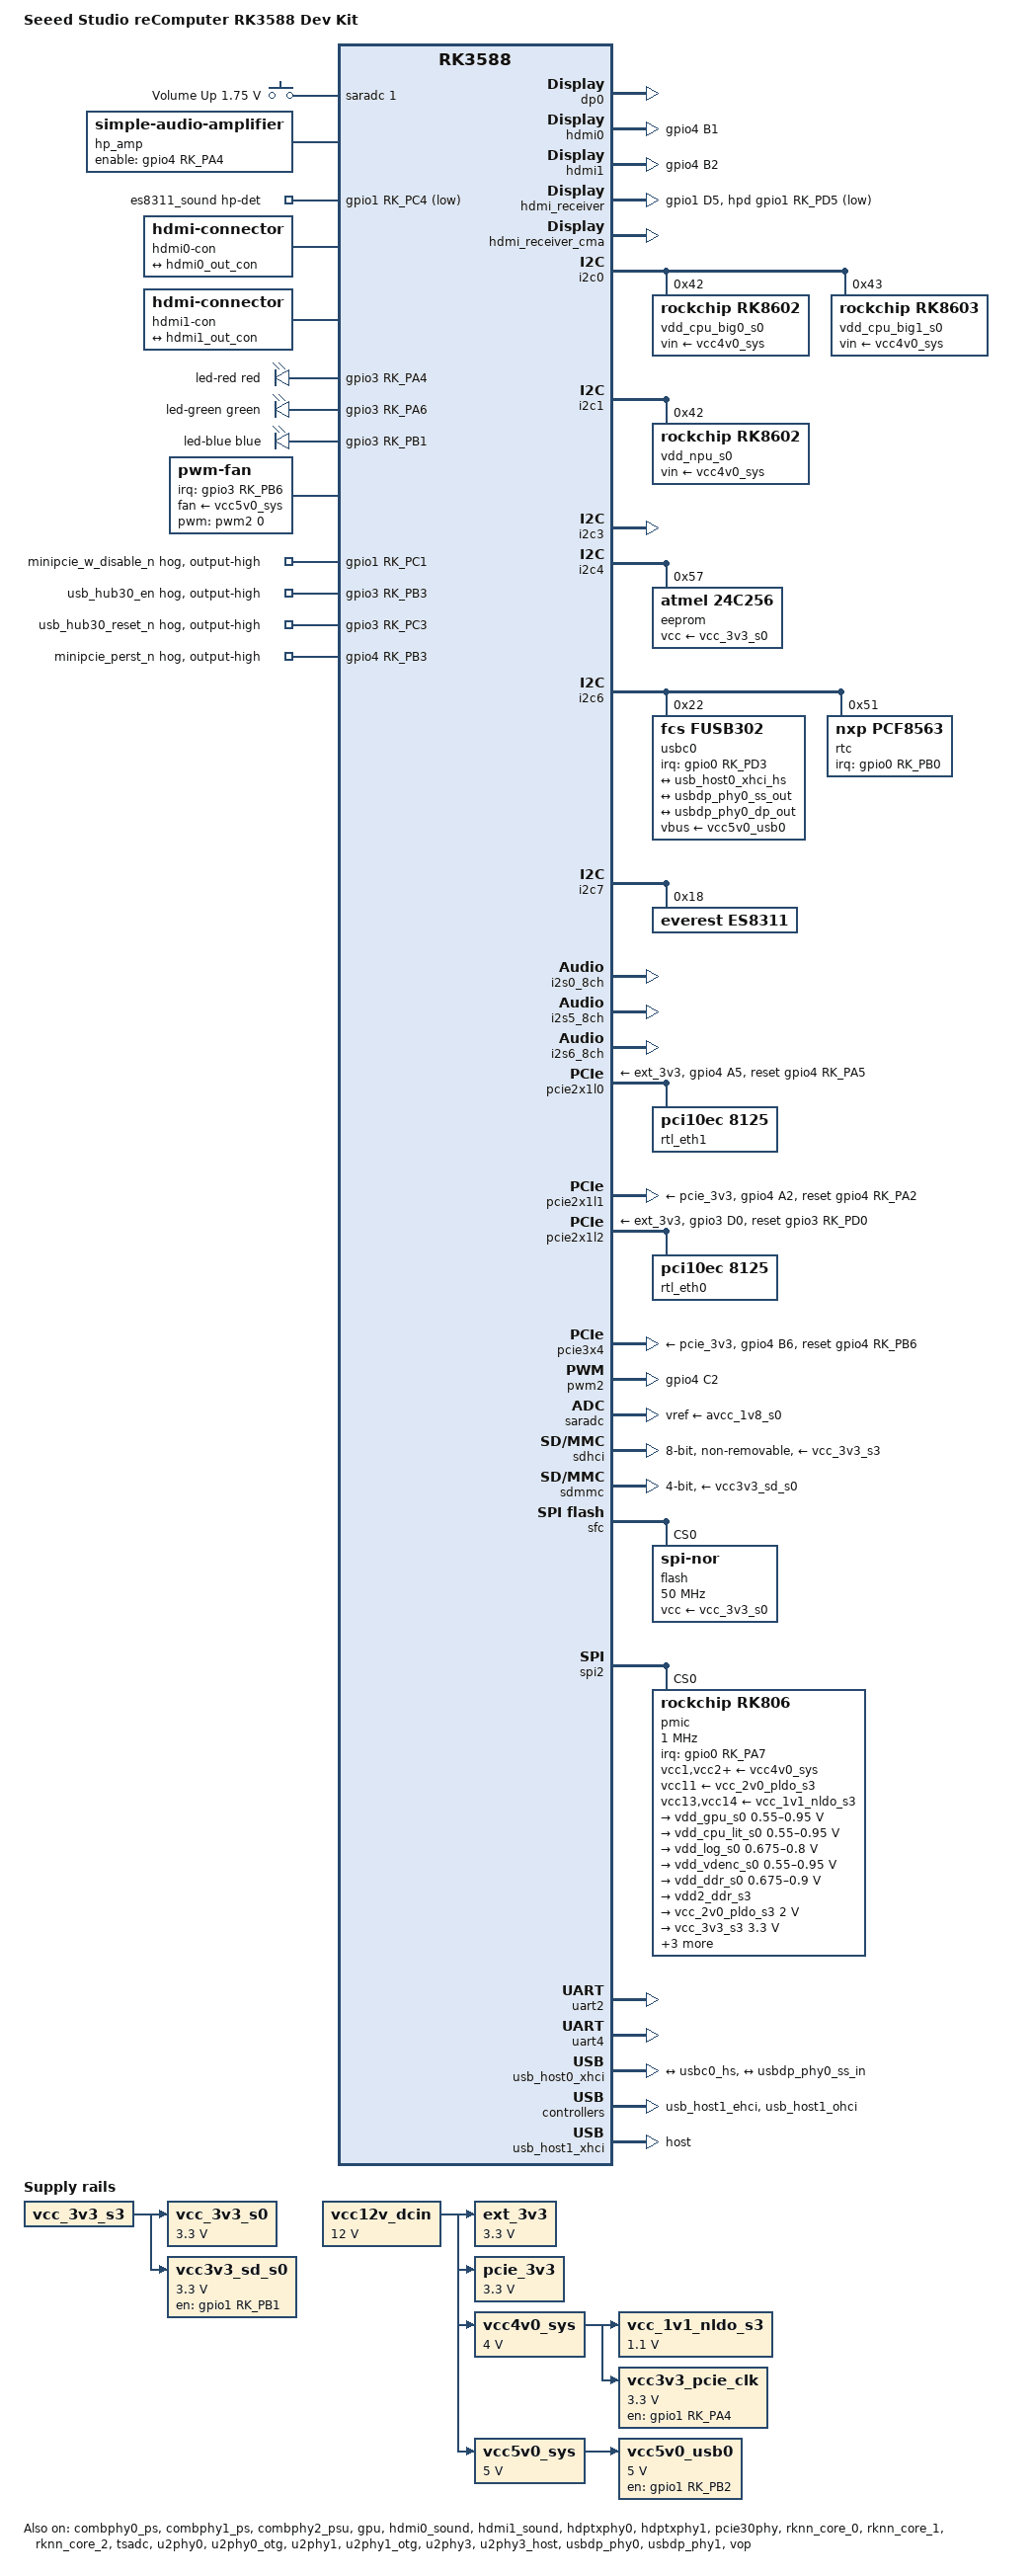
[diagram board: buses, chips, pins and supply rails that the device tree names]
// SPDX-License-Identifier: (GPL-2.0+ OR MIT)
/*
 * Copyright (c) 2026 Ricardo Pardini <ricardo@pardini.net>
 */

/dts-v1/;

#include <dt-bindings/gpio/gpio.h>
#include <dt-bindings/input/input.h>
#include <dt-bindings/leds/common.h>
#include <dt-bindings/pinctrl/rockchip.h>
#include <dt-bindings/soc/rockchip,vop2.h>
#include <dt-bindings/usb/pd.h>
#include "rk3588.dtsi"

/ {
	model = "Seeed Studio reComputer RK3588 Dev Kit";
	compatible = "seeed,recomputer-rk3588-devkit", "rockchip,rk3588";

	adc-keys {
		compatible = "adc-keys";
		io-channels = <&saradc 1>;
		io-channel-names = "buttons";
		keyup-threshold-microvolt = <1800000>;
		poll-interval = <100>;

		button-vol-up {
			label = "Volume Up";
			linux,code = <KEY_VOLUMEUP>;
			press-threshold-microvolt = <1750000>;
		};
	};

	aliases {
		ethernet0 = &rtl_eth0;
		ethernet1 = &rtl_eth1;
		mmc0 = &sdhci;
		mmc1 = &sdmmc;
	};

	/* Switch between the ES8311 differential output and the jack. */
	hp_amp: audio-amplifier {
		compatible = "simple-audio-amplifier";
		enable-gpios = <&gpio4 RK_PA4 GPIO_ACTIVE_HIGH>;
		pinctrl-names = "default";
		pinctrl-0 = <&hp_con>;
		sound-name-prefix = "Headphone Amp";
	};

	chosen {
		stdout-path = "serial2:1500000n8";
	};

	es8311_sound: es8311-sound {
		compatible = "simple-audio-card";
		pinctrl-names = "default";
		pinctrl-0 = <&hp_det>;
		simple-audio-card,name = "reComputer ES8311";
		simple-audio-card,format = "i2s";
		simple-audio-card,mclk-fs = <256>;
		simple-audio-card,aux-devs = <&hp_amp>;
		simple-audio-card,hp-det-gpios = <&gpio1 RK_PC4 GPIO_ACTIVE_LOW>;
		simple-audio-card,widgets = "Headphone", "Headphones",
					    "Microphone", "Headset Mic";
		simple-audio-card,routing = "Headphones", "Headphone Amp OUTL",
					    "Headphones", "Headphone Amp OUTR",
					    "Headphone Amp INL", "OUT",
					    "Headphone Amp INR", "OUT",
					    "MIC1", "Headset Mic";

		simple-audio-card,cpu {
			sound-dai = <&i2s0_8ch>;
		};

		simple-audio-card,codec {
			sound-dai = <&es8311>;
			system-clock-frequency = <12288000>;
		};
	};

	hdmi0-con {
		compatible = "hdmi-connector";
		type = "a";

		port {
			hdmi0_con_in: endpoint {
				remote-endpoint = <&hdmi0_out_con>;
			};
		};
	};

	hdmi1-con {
		compatible = "hdmi-connector";
		type = "a";

		port {
			hdmi1_con_in: endpoint {
				remote-endpoint = <&hdmi1_out_con>;
			};
		};
	};

	/*
	 * LED1 is a common-anode RGB LED tied to the ext_3v3 rail; each colour
	 * is switched by an NMOS driven from the SoC.
	 */
	leds {
		compatible = "gpio-leds";
		pinctrl-names = "default";
		pinctrl-0 = <&user_led_r>, <&user_led_g>, <&user_led_b>;

		led-red {
			color = <LED_COLOR_ID_RED>;
			function = LED_FUNCTION_INDICATOR;
			gpios = <&gpio3 RK_PA4 GPIO_ACTIVE_HIGH>;
		};

		led-green {
			color = <LED_COLOR_ID_GREEN>;
			function = LED_FUNCTION_INDICATOR;
			gpios = <&gpio3 RK_PA6 GPIO_ACTIVE_HIGH>;
		};

		led-blue {
			color = <LED_COLOR_ID_BLUE>;
			function = LED_FUNCTION_HEARTBEAT;
			gpios = <&gpio3 RK_PB1 GPIO_ACTIVE_HIGH>;
			linux,default-trigger = "heartbeat";
		};
	};

	fan: pwm-fan {
		compatible = "pwm-fan";
		/*
		 * The fan idles at its ~1000 rpm floor and only ramps once
		 * the package gets warm; the levels above the first roughly
		 * track the measured rpm curve, so the steps are even.
		 */
		cooling-levels = <25 35 55 80 115 165 255>;
		/* Sustains down to 8%, but needs 10% to break away. */
		fan-stop-to-start-percent = <15>;
		fan-supply = <&vcc5v0_sys>;
		interrupt-parent = <&gpio3>;
		interrupts = <RK_PB6 IRQ_TYPE_EDGE_RISING>;
		pinctrl-names = "default";
		pinctrl-0 = <&fan_tach>;
		pulses-per-revolution = <2>;
		pwms = <&pwm2 0 50000 0>;
		#cooling-cells = <2>;
	};

	/*
	 * Always-on discrete 12 V to 3.3 V regulator; supplies the Ethernet
	 * controllers, the USB 3.x hub, the user LED and the expansion
	 * connectors.
	 */
	ext_3v3: regulator-ext-3v3 {
		compatible = "regulator-fixed";
		regulator-always-on;
		regulator-boot-on;
		regulator-min-microvolt = <3300000>;
		regulator-max-microvolt = <3300000>;
		regulator-name = "ext_3v3";
		vin-supply = <&vcc12v_dcin>;
	};

	/* Always-on discrete 12 V to 3.3 V regulator for the two M.2 slots. */
	pcie_3v3: regulator-pcie-3v3 {
		compatible = "regulator-fixed";
		regulator-always-on;
		regulator-boot-on;
		regulator-min-microvolt = <3300000>;
		regulator-max-microvolt = <3300000>;
		regulator-name = "pcie_3v3";
		vin-supply = <&vcc12v_dcin>;
	};

	vcc_1v1_nldo_s3: regulator-vcc-1v1-nldo-s3 {
		compatible = "regulator-fixed";
		regulator-always-on;
		regulator-boot-on;
		regulator-min-microvolt = <1100000>;
		regulator-max-microvolt = <1100000>;
		regulator-name = "vcc_1v1_nldo_s3";
		vin-supply = <&vcc4v0_sys>;
	};

	/* Load switch off vcc_3v3_s3; supplies the eMMC, the SPI NOR and PMUIO2. */
	vcc_3v3_s0: regulator-vcc-3v3-s0 {
		compatible = "regulator-fixed";
		regulator-always-on;
		regulator-boot-on;
		regulator-min-microvolt = <3300000>;
		regulator-max-microvolt = <3300000>;
		regulator-name = "vcc_3v3_s0";
		vin-supply = <&vcc_3v3_s3>;
	};

	vcc12v_dcin: regulator-vcc12v-dcin {
		compatible = "regulator-fixed";
		regulator-always-on;
		regulator-boot-on;
		regulator-min-microvolt = <12000000>;
		regulator-max-microvolt = <12000000>;
		regulator-name = "vcc12v_dcin";
	};

	/*
	 * Supplies the PI6C557-05B buffer that fans the PCIe 3.0 reference
	 * clock out to the x4 M.2 slot. It has no consumer of its own, so
	 * keep it on.
	 */
	vcc3v3_pcie_clk: regulator-vcc3v3-pcie-clk {
		compatible = "regulator-fixed";
		enable-active-high;
		gpio = <&gpio1 RK_PA4 GPIO_ACTIVE_HIGH>;
		pinctrl-names = "default";
		pinctrl-0 = <&pcie30_clk_en>;
		regulator-always-on;
		regulator-boot-on;
		regulator-min-microvolt = <3300000>;
		regulator-max-microvolt = <3300000>;
		regulator-name = "vcc3v3_pcie_clk";
		vin-supply = <&vcc4v0_sys>;
	};

	vcc3v3_sd_s0: regulator-vcc3v3-sd-s0 {
		compatible = "regulator-fixed";
		enable-active-high;
		gpios = <&gpio1 RK_PB1 GPIO_ACTIVE_HIGH>;
		pinctrl-names = "default";
		pinctrl-0 = <&sdmmc_pwren>;
		regulator-boot-on;
		regulator-min-microvolt = <3300000>;
		regulator-max-microvolt = <3300000>;
		regulator-name = "vcc3v3_sd_s0";
		vin-supply = <&vcc_3v3_s3>;
	};

	/* Feeds the RK806 and the three RK860x CPU/NPU regulators. */
	vcc4v0_sys: regulator-vcc4v0-sys {
		compatible = "regulator-fixed";
		regulator-always-on;
		regulator-boot-on;
		regulator-min-microvolt = <4000000>;
		regulator-max-microvolt = <4000000>;
		regulator-name = "vcc4v0_sys";
		vin-supply = <&vcc12v_dcin>;
	};

	vcc5v0_sys: regulator-vcc5v0-sys {
		compatible = "regulator-fixed";
		regulator-always-on;
		regulator-boot-on;
		regulator-min-microvolt = <5000000>;
		regulator-max-microvolt = <5000000>;
		regulator-name = "vcc5v0_sys";
		vin-supply = <&vcc12v_dcin>;
	};

	/* Type-C VBUS, switched by an SY6280AAC limited to 1.0 A. */
	vcc5v0_usb0: regulator-vcc5v0-usb0 {
		compatible = "regulator-fixed";
		enable-active-high;
		gpio = <&gpio1 RK_PB2 GPIO_ACTIVE_HIGH>;
		pinctrl-names = "default";
		pinctrl-0 = <&typec5v_pwren>;
		regulator-min-microvolt = <5000000>;
		regulator-max-microvolt = <5000000>;
		regulator-name = "vcc5v0_usb0";
		vin-supply = <&vcc5v0_sys>;
	};
};

&combphy0_ps {
	status = "okay";
};

&combphy1_ps {
	status = "okay";
};

&combphy2_psu {
	status = "okay";
};

&cpu_b0 {
	cpu-supply = <&vdd_cpu_big0_s0>;
};

&cpu_b1 {
	cpu-supply = <&vdd_cpu_big0_s0>;
};

&cpu_b2 {
	cpu-supply = <&vdd_cpu_big1_s0>;
};

&cpu_b3 {
	cpu-supply = <&vdd_cpu_big1_s0>;
};

&cpu_l0 {
	cpu-supply = <&vdd_cpu_lit_s0>;
};

&cpu_l1 {
	cpu-supply = <&vdd_cpu_lit_s0>;
};

&cpu_l2 {
	cpu-supply = <&vdd_cpu_lit_s0>;
};

&cpu_l3 {
	cpu-supply = <&vdd_cpu_lit_s0>;
};

/* DisplayPort alternate mode, out over the USB Type-C connector. */
&dp0 {
	status = "okay";
};

&dp0_in {
	dp0_in_vp2: endpoint {
		remote-endpoint = <&vp2_out_dp0>;
	};
};

&dp0_out {
	dp0_out_con: endpoint {
		remote-endpoint = <&usbdp_phy0_dp_in>;
	};
};

/*
 * GPIO line names use the schematic's own signal labels, in the format
 * "Human-readable name [SIGNAL_LABEL]"; they match revision V1.0 of the
 * RK3588_AIOT_SCH schematic. Lines left unnamed are either unrouted or
 * belong to the unpopulated Wi-Fi/BT module footprint.
 */
&gpio0 {
	gpio-line-names =
		/* GPIO0 A0-A7 */
		"", "Thermal shutdown [TSADC_SHUT_H]",
		"PMIC [PMIC_PWR_CTRL1]", "CPU big0 select [CPU_BIG0_VSEL]",
		"MicroSD detect [SDMMC_DET_L]", "PMIC SPI [SPI2_CLK_M2]",
		"PMIC SPI [SPI2_MOSI_M2]", "PMIC interrupt [PMIC_INT_L]",
		/* GPIO0 B0-B7 */
		"RTC interrupt [RTC_INT_L]", "PMIC SPI [SPI2_CS0_M2]", "",
		"PMIC SPI [SPI2_MISO_M2]", "", "Header pin 08, debug UART",
		"Header pin 10, debug UART", "CAM0 connector pin 18",
		/* GPIO0 C0-C7 */
		"Header pin 11", "NPU select [NPU_VSEL]",
		"PMIC [PMIC_PWR_CTRL3]", "PMIC [PMIC_PWR_CTRL2]",
		"Header pin 38", "Header pin 29",
		"", "Header pin 27 [I2C6_SDA_M0]",
		/* GPIO0 D0-D7 */
		"Header pin 28 [I2C6_SCL_M0]", "CPU regulators [I2C0_SCL_M2]",
		"CPU regulators [I2C0_SDA_M2]", "Type-C interrupt [CC_INT_L]",
		"NPU regulator [I2C1_SCL_M2]", "NPU regulator [I2C1_SDA_M2]",
		"CPU big1 select [CPU_BIG1_VSEL]", "";
};

&gpio1 {
	gpio-line-names =
		/* GPIO1 A0-A7 */
		"", "", "", "", "PCIe 3.0 clock [PCIE30_CLK_EN]",
		"HDMI0 HPD [HDMITX0_HPDIN_M0]",
		"HDMI1 HPD [HDMITX1_HPDIN_M0]", "Header pin 12",
		/* GPIO1 B0-B7 */
		"Header pin 16", "MicroSD power [SDMMC_PWREN]",
		"Type-C VBUS [TYPEC5V_PWREN_H]", "Header pin 26",
		"Header pin 18", "Header pin 22",
		"M.2 x1 alert [M2M1_ALERT_N]", "Header pin 36",
		/* GPIO1 C0-C7 */
		"LoRa [PCIe_SX1261_BUSY_1V8]", "mini PCIe RF kill [W_DISABLE#]",
		"Audio codec [I2S0_MCLK]", "Audio codec [I2S0_SCLK]",
		"Headphone detect [HP_DET_L]", "Audio codec [I2S0_LRCK]",
		"Header pin 15", "Audio codec [I2S0_SDO0]",
		/* GPIO1 D0-D7 */
		"Audio codec [I2C7_SCL_M0]", "Audio codec [I2C7_SDA_M0]",
		"Header pin 33 [UART4_TX_M0]", "Header pin 35 [UART4_RX_M0]",
		"Audio codec [I2S0_SDI0]", "HDMI-in [HDMIIRX_Plugin_DET_L]",
		"Header pin 37", "Header pin 32";

	/*
	 * Radio disable of the mini PCIe slot, active low. Deassert it so a
	 * fitted card is allowed to transmit.
	 */
	minipcie-w-disable-hog {
		gpio-hog;
		gpios = <RK_PC1 GPIO_ACTIVE_HIGH>;
		line-name = "minipcie_w_disable_n";
		output-high;
	};
};

&gpio2 {
	gpio-line-names =
		/* GPIO2 A0-A7 */
		"eMMC [EMMC_CMD]", "eMMC [EMMC_CLKOUT]",
		"eMMC [EMMC_DATA_STROBE]", "eMMC [EMMC_RSTn]", "", "", "", "",
		/* GPIO2 B0-B7 */
		"", "", "", "", "EEPROM, LCM, M.2 [I2C4_SDA_M1]",
		"EEPROM, LCM, M.2 [I2C4_SCL_M1]",
		"CAM0 connector pin 17", "Header pin 13",
		/* GPIO2 C0-C7 */
		"Header pins 23/40 [SPI1_CLK_M0]",
		"Header pin 21 [SPI1_MISO_M0]",
		"Header pin 19 [SPI1_MOSI_M0]", "Header pin 24 [SPI1_CS0_M0]",
		"HDMI1 [HDMITX1_CEC_M0]", "", "", "",
		/* GPIO2 D0-D7 */
		"eMMC [EMMC_D0]", "eMMC [EMMC_D1]", "eMMC [EMMC_D2]",
		"eMMC [EMMC_D3]", "eMMC [EMMC_D4]", "eMMC [EMMC_D5]",
		"eMMC [EMMC_D6]", "eMMC [EMMC_D7]";
};

&gpio3 {
	gpio-line-names =
		/* GPIO3 A0-A7 */
		"SPI NOR flash [FSPI_D0_M2]", "SPI NOR flash [FSPI_D1_M2]",
		"SPI NOR flash [FSPI_D2_M2]", "SPI NOR flash [FSPI_D3_M2]",
		"User LED red [USER_LED_R]", "SPI NOR flash [FSPI_CLK_M2]",
		"User LED green [USER_LED_G]", "LoRa [LoRaWAN_SX1262_CS]",
		/* GPIO3 B0-B7 */
		"CAM1 connector pin 17", "User LED blue [USER_LED_B]",
		"", "USB hub power [USB_HUB30_EN]",
		"CAM1 connector pin 18", "LCM connector pin 17",
		"Cooling fan tach [FAN_TACH]", "Header pin 05 [I2C3_SCL_M1]",
		/* GPIO3 C0-C7 */
		"Header pin 03 [I2C3_SDA_M1]", "Ethernet [PCIE0_PWR_0V95_EN]",
		"LoRa [PCIe_SX1261_RST_3V3]", "USB hub reset [SYS_3V3_EN]",
		"SPI NOR flash [FSPI_CS0_M2]", "HDMI1 [HDMITX1_SDA_M1]",
		"HDMI1 [HDMITX1_SCL_M1]", "ETH0 [PCIE20_1_2_CLKREQn_M1_L]",
		/* GPIO3 D0-D7 */
		"ETH0 [PCIE20_1_2_WAKEn_M1_L]", "HDMI-in [HDMI_RX_CEC]",
		"HDMI-in [HDMI_RX_SCL_M1]", "HDMI-in [HDMI_RX_SDA_M1]",
		"HDMI-in HPD [HDMIIRX_HPDOUT_H]",
		"LCM connector pin 18", "", "";

	/*
	 * The on-board VL822 USB 3.x hub has no DT consumer that could own
	 * these: it is not in the onboard_usb_dev device table. Hold its
	 * 1.05 V core rail enabled and hold it out of reset. The schematic
	 * calls the reset line SYS_3V3_EN, but it drives the reset
	 * supervisor's MR input, not a rail enable.
	 */
	usb-hub-power-hog {
		gpio-hog;
		gpios = <RK_PB3 GPIO_ACTIVE_HIGH>;
		line-name = "usb_hub30_en";
		output-high;
	};

	usb-hub-reset-hog {
		gpio-hog;
		gpios = <RK_PC3 GPIO_ACTIVE_HIGH>;
		line-name = "usb_hub30_reset_n";
		output-high;
	};
};

&gpio4 {
	gpio-line-names =
		/* GPIO4 A0-A7 */
		"M.2 x1 [PCIEX1_1_CLKREQn_M1_L]",
		"M.2 x1 [PCIEX1_1_WAKEn_M1_L]", "M.2 x1 [PCIEX1_1_PERSTn_M1_L]",
		"ETH1 [PCIE30x1_0_CLKREQn_M1_L]",
		"Headphone amp [PHONE_CTL]", "ETH1 [PCIE30x1_0_PERSTn_M1_L]",
		"Type-C SBU1 [TYPEC0_SBU1_DC]", "Type-C SBU2 [TYPEC0_SBU2_DC]",
		/* GPIO4 B0-B7 */
		"Header pin 31", "HDMI0 enable [HDMI0_TX_ON_H]",
		"HDMI1 enable [HDMI1_TX_ON_H]", "mini PCIe reset [LTE_RESET]",
		"M.2 x4 [PCIE30X4_CLKREQn_M1_L]",
		"M.2 x4 [PCIE30X4_WAKEn_M1_L]",
		"M.2 x4 [PCIE30X4_PERSTn_M1_L]", "HDMI0 [HDMITX0_SCL_M0]",
		/* GPIO4 C0-C7 */
		"HDMI0 [HDMITX0_SDA_M0]", "HDMI0 [HDMITX0_CEC_M0]",
		"Cooling fan [PWM2_M2]", "mini PCIe LED [LTE_LED_WWAN#]",
		"", "", "Header pin 07", "",
		/* GPIO4 D0-D7 */
		"MicroSD [SDMMC0_D0]", "MicroSD [SDMMC0_D1]",
		"MicroSD [SDMMC0_D2]", "MicroSD [SDMMC0_D3]",
		"MicroSD [SDMMC0_CMD]", "MicroSD [SD_CLK]", "", "";

	/*
	 * PERST# of the mini PCIe slot, active low. The slot carries USB and
	 * I2C rather than PCIe, so nothing claims this line; hold it
	 * deasserted to let a fitted card run.
	 */
	minipcie-perst-hog {
		gpio-hog;
		gpios = <RK_PB3 GPIO_ACTIVE_HIGH>;
		line-name = "minipcie_perst_n";
		output-high;
	};
};

&gpu {
	mali-supply = <&vdd_gpu_s0>;
	status = "okay";
};

&hdmi0 {
	frl-enable-gpios = <&gpio4 RK_PB1 GPIO_ACTIVE_LOW>;
	pinctrl-names = "default";
	pinctrl-0 = <&hdmim0_tx0_cec &hdmim0_tx0_hpd
		     &hdmim0_tx0_scl &hdmim0_tx0_sda &hdmi0_tx_on_h>;
	status = "okay";
};

&hdmi0_in {
	hdmi0_in_vp0: endpoint {
		remote-endpoint = <&vp0_out_hdmi0>;
	};
};

&hdmi0_out {
	hdmi0_out_con: endpoint {
		remote-endpoint = <&hdmi0_con_in>;
	};
};

&hdmi0_sound {
	status = "okay";
};

&hdmi1 {
	frl-enable-gpios = <&gpio4 RK_PB2 GPIO_ACTIVE_LOW>;
	pinctrl-names = "default";
	pinctrl-0 = <&hdmim0_tx1_cec &hdmim0_tx1_hpd
		     &hdmim1_tx1_scl &hdmim1_tx1_sda &hdmi1_tx_on_h>;
	status = "okay";
};

&hdmi1_in {
	hdmi1_in_vp1: endpoint {
		remote-endpoint = <&vp1_out_hdmi1>;
	};
};

&hdmi1_out {
	hdmi1_out_con: endpoint {
		remote-endpoint = <&hdmi1_con_in>;
	};
};

&hdmi1_sound {
	status = "okay";
};

/* HDMI input, on its own Type-A connector. */
&hdmi_receiver {
	hpd-gpios = <&gpio1 RK_PD5 GPIO_ACTIVE_LOW>;
	pinctrl-names = "default";
	pinctrl-0 = <&hdmim1_rx_cec &hdmim1_rx_hpdin
		     &hdmim1_rx_scl &hdmim1_rx_sda &hdmirx_hpd>;
	status = "okay";
};

&hdmi_receiver_cma {
	status = "okay";
};

&hdptxphy0 {
	status = "okay";
};

&hdptxphy1 {
	status = "okay";
};

&i2c0 {
	pinctrl-names = "default";
	pinctrl-0 = <&i2c0m2_xfer>;
	status = "okay";

	vdd_cpu_big0_s0: regulator@42 {
		compatible = "rockchip,rk8602";
		reg = <0x42>;
		fcs,suspend-voltage-selector = <1>;
		regulator-always-on;
		regulator-boot-on;
		regulator-min-microvolt = <550000>;
		regulator-max-microvolt = <1050000>;
		regulator-name = "vdd_cpu_big0_s0";
		regulator-ramp-delay = <2300>;
		vin-supply = <&vcc4v0_sys>;

		regulator-state-mem {
			regulator-off-in-suspend;
		};
	};

	vdd_cpu_big1_s0: regulator@43 {
		compatible = "rockchip,rk8603", "rockchip,rk8602";
		reg = <0x43>;
		fcs,suspend-voltage-selector = <1>;
		regulator-always-on;
		regulator-boot-on;
		regulator-min-microvolt = <550000>;
		regulator-max-microvolt = <1050000>;
		regulator-name = "vdd_cpu_big1_s0";
		regulator-ramp-delay = <2300>;
		vin-supply = <&vcc4v0_sys>;

		regulator-state-mem {
			regulator-off-in-suspend;
		};
	};
};

&i2c1 {
	pinctrl-names = "default";
	pinctrl-0 = <&i2c1m2_xfer>;
	status = "okay";

	vdd_npu_s0: regulator@42 {
		compatible = "rockchip,rk8602";
		reg = <0x42>;
		fcs,suspend-voltage-selector = <1>;
		regulator-boot-on;
		regulator-enable-ramp-delay = <400>;
		regulator-min-microvolt = <550000>;
		regulator-max-microvolt = <950000>;
		regulator-name = "vdd_npu_s0";
		regulator-ramp-delay = <2300>;
		vin-supply = <&vcc4v0_sys>;

		regulator-state-mem {
			regulator-off-in-suspend;
		};
	};
};

/* Exposed on the 40-pin header: pin 3 (SDA) and pin 5 (SCL). */
&i2c3 {
	pinctrl-names = "default";
	pinctrl-0 = <&i2c3m1_xfer>;
	status = "okay";
};

&i2c4 {
	pinctrl-names = "default";
	pinctrl-0 = <&i2c4m1_xfer>;
	status = "okay";

	eeprom@57 {
		compatible = "atmel,24c256";
		reg = <0x57>;
		pagesize = <16>;
		vcc-supply = <&vcc_3v3_s0>;
	};
};

&i2c6 {
	status = "okay";

	/*
	 * Awinic AW35615, register-compatible with the FUSB302B. An HUSB311
	 * at 0x4e is an alternate BOM option, not fitted by default.
	 */
	usbc0: usb-typec@22 {
		compatible = "fcs,fusb302";
		reg = <0x22>;
		interrupt-parent = <&gpio0>;
		interrupts = <RK_PD3 IRQ_TYPE_LEVEL_LOW>;
		pinctrl-names = "default";
		pinctrl-0 = <&usbc0_int>;
		vbus-supply = <&vcc5v0_usb0>;

		connector {
			compatible = "usb-c-connector";
			data-role = "dual";
			label = "USB-C";
			op-sink-microwatt = <1000000>;
			power-role = "dual";
			/* The VBUS switch on this port is limited to 1.0 A. */
			sink-pdos = <PDO_FIXED(5000, 1000, PDO_FIXED_USB_COMM)>;
			source-pdos = <PDO_FIXED(5000, 1000, PDO_FIXED_USB_COMM)>;
			try-power-role = "sink";

			altmodes {
				displayport {
					svid = /bits/ 16 <0xff01>;
					vdo = <0xffffffff>;
				};
			};

			ports {
				#address-cells = <1>;
				#size-cells = <0>;

				port@0 {
					reg = <0>;
					usbc0_hs: endpoint {
						remote-endpoint = <&usb_host0_xhci_hs>;
					};
				};

				port@1 {
					reg = <1>;
					usbc0_ss: endpoint {
						remote-endpoint = <&usbdp_phy0_ss_out>;
					};
				};

				port@2 {
					reg = <2>;
					usbc0_sbu: endpoint {
						remote-endpoint = <&usbdp_phy0_dp_out>;
					};
				};
			};
		};
	};

	rtc@51 {
		compatible = "nxp,pcf8563";
		reg = <0x51>;
		#clock-cells = <0>;
		clock-output-names = "pcf8563";
		interrupt-parent = <&gpio0>;
		interrupts = <RK_PB0 IRQ_TYPE_LEVEL_LOW>;
		pinctrl-names = "default";
		pinctrl-0 = <&pcf8563_int>;
		wakeup-source;
	};
};

&i2c7 {
	status = "okay";

	es8311: audio-codec@18 {
		compatible = "everest,es8311";
		reg = <0x18>;
		clocks = <&cru I2S0_8CH_MCLKOUT>;
		clock-names = "mclk";
		assigned-clocks = <&cru I2S0_8CH_MCLKOUT>;
		assigned-clock-rates = <12288000>;
		#sound-dai-cells = <0>;
	};
};

&i2s0_8ch {
	pinctrl-names = "default";
	pinctrl-0 = <&i2s0_lrck
		     &i2s0_mclk
		     &i2s0_sclk
		     &i2s0_sdi0
		     &i2s0_sdo0>;
	status = "okay";
};

&i2s5_8ch {
	status = "okay";
};

&i2s6_8ch {
	status = "okay";
};

&package_thermal {
	polling-delay = <1000>;

	trips {
		package_fan0: package-fan0 {
			temperature = <50000>;
			hysteresis = <2000>;
			type = "active";
		};

		package_fan1: package-fan1 {
			temperature = <55000>;
			hysteresis = <2000>;
			type = "active";
		};

		package_fan2: package-fan2 {
			temperature = <60000>;
			hysteresis = <2000>;
			type = "active";
		};

		package_fan3: package-fan3 {
			temperature = <65000>;
			hysteresis = <2000>;
			type = "active";
		};

		package_fan4: package-fan4 {
			temperature = <70000>;
			hysteresis = <2000>;
			type = "active";
		};

		package_fan5: package-fan5 {
			temperature = <75000>;
			hysteresis = <2000>;
			type = "active";
		};
	};

	cooling-maps {
		map-fan0 {
			trip = <&package_fan0>;
			cooling-device = <&fan 1 1>;
		};

		map-fan1 {
			trip = <&package_fan1>;
			cooling-device = <&fan 2 2>;
		};

		map-fan2 {
			trip = <&package_fan2>;
			cooling-device = <&fan 3 3>;
		};

		map-fan3 {
			trip = <&package_fan3>;
			cooling-device = <&fan 4 4>;
		};

		map-fan4 {
			trip = <&package_fan4>;
			cooling-device = <&fan 5 5>;
		};

		map-fan5 {
			trip = <&package_fan5>;
			cooling-device = <&fan 6 6>;
		};
	};
};

/* Realtek RTL8125B, right Ethernet port, marked ETH1 on the enclosure. */
&pcie2x1l0 {
	pinctrl-names = "default";
	pinctrl-0 = <&pcie2_1_rst>;
	reset-gpios = <&gpio4 RK_PA5 GPIO_ACTIVE_HIGH>;
	vpcie3v3-supply = <&ext_3v3>;
	status = "okay";

	pcie@0,0 {
		reg = <0x200000 0 0 0 0>;
		#address-cells = <3>;
		#size-cells = <2>;
		ranges;
		device_type = "pci";
		bus-range = <0x21 0x2f>;

		rtl_eth1: ethernet@0,0 {
			compatible = "pci10ec,8125";
			reg = <0x210000 0 0 0 0>;
			local-mac-address = [00 00 00 00 00 00];
		};
	};
};

/* M.2 M-key slot, PCIe 2.0 x1. */
&pcie2x1l1 {
	pinctrl-names = "default";
	pinctrl-0 = <&pcie2_2_rst>;
	reset-gpios = <&gpio4 RK_PA2 GPIO_ACTIVE_HIGH>;
	vpcie3v3-supply = <&pcie_3v3>;
	status = "okay";
};

/*
 * Realtek RTL8125B, left Ethernet port, marked ETH0 on the enclosure. The
 * reset line is called PCIE20_1_2_WAKEn_M1_L on the schematic, but it is
 * wired to the controller's PERSTB pin.
 */
&pcie2x1l2 {
	pinctrl-names = "default";
	pinctrl-0 = <&pcie2_0_rst>;
	reset-gpios = <&gpio3 RK_PD0 GPIO_ACTIVE_HIGH>;
	vpcie3v3-supply = <&ext_3v3>;
	status = "okay";

	pcie@0,0 {
		reg = <0x400000 0 0 0 0>;
		#address-cells = <3>;
		#size-cells = <2>;
		ranges;
		device_type = "pci";
		bus-range = <0x41 0x4f>;

		rtl_eth0: ethernet@0,0 {
			compatible = "pci10ec,8125";
			reg = <0x410000 0 0 0 0>;
			local-mac-address = [00 00 00 00 00 00];
		};
	};
};

&pcie30phy {
	status = "okay";
};

/* M.2 M-key slot, PCIe 3.0 x4. */
&pcie3x4 {
	pinctrl-names = "default";
	pinctrl-0 = <&pcie3_rst>;
	reset-gpios = <&gpio4 RK_PB6 GPIO_ACTIVE_HIGH>;
	vpcie3v3-supply = <&pcie_3v3>;
	status = "okay";
};

&pd_gpu {
	domain-supply = <&vdd_gpu_s0>;
};

&pd_npu {
	domain-supply = <&vdd_npu_s0>;
};

&pinctrl {
	fan {
		/* Pull down so the fan is off while the PWM is disabled. */
		fan_pwm: fan-pwm {
			rockchip,pins = <4 RK_PC2 11 &pcfg_pull_down_drv_level_2>;
		};

		fan_tach: fan-tach {
			rockchip,pins = <3 RK_PB6 RK_FUNC_GPIO &pcfg_pull_up>;
		};
	};

	hdmi {
		hdmi0_tx_on_h: hdmi0-tx-on-h {
			rockchip,pins = <4 RK_PB1 RK_FUNC_GPIO &pcfg_pull_none>;
		};

		hdmi1_tx_on_h: hdmi1-tx-on-h {
			rockchip,pins = <4 RK_PB2 RK_FUNC_GPIO &pcfg_pull_none>;
		};
	};

	hdmirx {
		hdmirx_hpd: hdmirx-5v-detection {
			rockchip,pins = <1 RK_PD5 RK_FUNC_GPIO &pcfg_pull_none>;
		};
	};

	headphone {
		hp_con: hp-con {
			rockchip,pins = <4 RK_PA4 RK_FUNC_GPIO &pcfg_pull_none>;
		};

		hp_det: hp-det {
			rockchip,pins = <1 RK_PC4 RK_FUNC_GPIO &pcfg_pull_up>;
		};
	};

	leds {
		user_led_b: user-led-b {
			rockchip,pins = <3 RK_PB1 RK_FUNC_GPIO &pcfg_pull_none>;
		};

		user_led_g: user-led-g {
			rockchip,pins = <3 RK_PA6 RK_FUNC_GPIO &pcfg_pull_none>;
		};

		user_led_r: user-led-r {
			rockchip,pins = <3 RK_PA4 RK_FUNC_GPIO &pcfg_pull_none>;
		};
	};

	pcf8563 {
		pcf8563_int: pcf8563-int {
			rockchip,pins = <0 RK_PB0 RK_FUNC_GPIO &pcfg_pull_none>;
		};
	};

	pcie {
		pcie2_0_rst: pcie2-0-rst {
			rockchip,pins = <3 RK_PD0 RK_FUNC_GPIO &pcfg_pull_none>;
		};

		pcie2_1_rst: pcie2-1-rst {
			rockchip,pins = <4 RK_PA5 RK_FUNC_GPIO &pcfg_pull_none>;
		};

		pcie2_2_rst: pcie2-2-rst {
			rockchip,pins = <4 RK_PA2 RK_FUNC_GPIO &pcfg_pull_none>;
		};

		pcie30_clk_en: pcie30-clk-en {
			rockchip,pins = <1 RK_PA4 RK_FUNC_GPIO &pcfg_pull_none>;
		};

		pcie3_rst: pcie3-rst {
			rockchip,pins = <4 RK_PB6 RK_FUNC_GPIO &pcfg_pull_none>;
		};
	};

	sdmmc {
		sdmmc_pwren: sdmmc-pwren {
			rockchip,pins = <1 RK_PB1 RK_FUNC_GPIO &pcfg_pull_none>;
		};
	};

	usb-typec {
		typec5v_pwren: typec5v-pwren {
			rockchip,pins = <1 RK_PB2 RK_FUNC_GPIO &pcfg_pull_none>;
		};

		usbc0_int: usbc0-int {
			rockchip,pins = <0 RK_PD3 RK_FUNC_GPIO &pcfg_pull_up>;
		};

		usbc0_sbu1: usbc0-sbu1 {
			rockchip,pins = <4 RK_PA6 RK_FUNC_GPIO &pcfg_pull_none>;
		};

		usbc0_sbu2: usbc0-sbu2 {
			rockchip,pins = <4 RK_PA7 RK_FUNC_GPIO &pcfg_pull_none>;
		};
	};
};

&pwm2 {
	pinctrl-names = "default";
	pinctrl-0 = <&fan_pwm>;
	status = "okay";
};

&rknn_core_0 {
	npu-supply = <&vdd_npu_s0>;
	sram-supply = <&vdd_npu_s0>;
	status = "okay";
};

&rknn_core_1 {
	npu-supply = <&vdd_npu_s0>;
	sram-supply = <&vdd_npu_s0>;
	status = "okay";
};

&rknn_core_2 {
	npu-supply = <&vdd_npu_s0>;
	sram-supply = <&vdd_npu_s0>;
	status = "okay";
};

&rknn_mmu_0 {
	status = "okay";
};

&rknn_mmu_1 {
	status = "okay";
};

&rknn_mmu_2 {
	status = "okay";
};

&saradc {
	vref-supply = <&avcc_1v8_s0>;
	status = "okay";
};

&sdhci {
	bus-width = <8>;
	mmc-hs200-1_8v;
	no-sd;
	no-sdio;
	non-removable;
	vmmc-supply = <&vcc_3v3_s3>;
	vqmmc-supply = <&vcc_1v8_s3>;
	status = "okay";
};

&sdmmc {
	bus-width = <4>;
	cap-mmc-highspeed;
	cap-sd-highspeed;
	disable-wp;
	no-mmc;
	no-sdio;
	pinctrl-names = "default";
	pinctrl-0 = <&sdmmc_bus4 &sdmmc_clk &sdmmc_cmd &sdmmc_det>;
	sd-uhs-sdr104;
	vmmc-supply = <&vcc3v3_sd_s0>;
	vqmmc-supply = <&vccio_sd_s0>;
	status = "okay";
};

&sfc {
	pinctrl-names = "default";
	pinctrl-0 = <&fspim2_pins>;
	status = "okay";

	flash@0 {
		compatible = "jedec,spi-nor";
		reg = <0>;
		spi-max-frequency = <50000000>;
		spi-rx-bus-width = <4>;
		spi-tx-bus-width = <1>;
		vcc-supply = <&vcc_3v3_s0>;
	};
};

/*
 * Exposed on the 40-pin header: pins 19 (MOSI), 21 (MISO), 23 (SCLK) and
 * 24 (CE0). The same pins reach the mini PCIe slot's PCM lines, which a
 * LoRa concentrator drives as an SPI bus, so leave the controller
 * disabled and let an overlay enable it for whichever is in use.
 */
&spi1 {
	pinctrl-names = "default";
	pinctrl-0 = <&spi1m0_pins &spi1m0_cs0>;
	status = "disabled";
};

&spi2 {
	assigned-clocks = <&cru CLK_SPI2>;
	assigned-clock-rates = <200000000>;
	num-cs = <1>;
	pinctrl-names = "default";
	pinctrl-0 = <&spi2m2_cs0 &spi2m2_pins>;
	status = "okay";

	pmic@0 {
		compatible = "rockchip,rk806";
		reg = <0x0>;
		#gpio-cells = <2>;
		gpio-controller;
		interrupt-parent = <&gpio0>;
		interrupts = <RK_PA7 IRQ_TYPE_LEVEL_LOW>;
		pinctrl-names = "default";
		pinctrl-0 = <&pmic_pins>, <&rk806_dvs1_null>,
			    <&rk806_dvs2_null>, <&rk806_dvs3_null>;
		spi-max-frequency = <1000000>;
		system-power-controller;
		vcc1-supply = <&vcc4v0_sys>;
		vcc2-supply = <&vcc4v0_sys>;
		vcc3-supply = <&vcc4v0_sys>;
		vcc4-supply = <&vcc4v0_sys>;
		vcc5-supply = <&vcc4v0_sys>;
		vcc6-supply = <&vcc4v0_sys>;
		vcc7-supply = <&vcc4v0_sys>;
		vcc8-supply = <&vcc4v0_sys>;
		vcc9-supply = <&vcc4v0_sys>;
		vcc10-supply = <&vcc4v0_sys>;
		vcc11-supply = <&vcc_2v0_pldo_s3>;
		vcc12-supply = <&vcc4v0_sys>;
		vcc13-supply = <&vcc_1v1_nldo_s3>;
		vcc14-supply = <&vcc_1v1_nldo_s3>;
		vcca-supply = <&vcc4v0_sys>;

		rk806_dvs1_null: dvs1-null-pins {
			pins = "gpio_pwrctrl1";
			function = "pin_fun0";
		};

		rk806_dvs2_null: dvs2-null-pins {
			pins = "gpio_pwrctrl2";
			function = "pin_fun0";
		};

		rk806_dvs3_null: dvs3-null-pins {
			pins = "gpio_pwrctrl3";
			function = "pin_fun0";
		};

		regulators {
			vdd_gpu_s0: dcdc-reg1 {
				regulator-boot-on;
				regulator-enable-ramp-delay = <400>;
				regulator-min-microvolt = <550000>;
				regulator-max-microvolt = <950000>;
				regulator-name = "vdd_gpu_s0";
				regulator-ramp-delay = <12500>;

				regulator-state-mem {
					regulator-off-in-suspend;
				};
			};

			vdd_cpu_lit_s0: dcdc-reg2 {
				regulator-always-on;
				regulator-boot-on;
				regulator-min-microvolt = <550000>;
				regulator-max-microvolt = <950000>;
				regulator-name = "vdd_cpu_lit_s0";
				regulator-ramp-delay = <12500>;

				regulator-state-mem {
					regulator-off-in-suspend;
				};
			};

			vdd_log_s0: dcdc-reg3 {
				regulator-always-on;
				regulator-boot-on;
				regulator-min-microvolt = <675000>;
				regulator-max-microvolt = <800000>;
				regulator-name = "vdd_log_s0";
				regulator-ramp-delay = <12500>;

				regulator-state-mem {
					regulator-on-in-suspend;
					regulator-suspend-microvolt = <750000>;
				};
			};

			vdd_vdenc_s0: dcdc-reg4 {
				regulator-always-on;
				regulator-boot-on;
				regulator-min-microvolt = <550000>;
				regulator-max-microvolt = <950000>;
				regulator-name = "vdd_vdenc_s0";
				regulator-ramp-delay = <12500>;

				regulator-state-mem {
					regulator-off-in-suspend;
				};
			};

			vdd_ddr_s0: dcdc-reg5 {
				regulator-always-on;
				regulator-boot-on;
				regulator-min-microvolt = <675000>;
				regulator-max-microvolt = <900000>;
				regulator-name = "vdd_ddr_s0";
				regulator-ramp-delay = <12500>;

				regulator-state-mem {
					regulator-off-in-suspend;
					regulator-suspend-microvolt = <850000>;
				};
			};

			vdd2_ddr_s3: dcdc-reg6 {
				regulator-always-on;
				regulator-boot-on;
				regulator-name = "vdd2_ddr_s3";

				regulator-state-mem {
					regulator-on-in-suspend;
				};
			};

			vcc_2v0_pldo_s3: dcdc-reg7 {
				regulator-always-on;
				regulator-boot-on;
				regulator-min-microvolt = <2000000>;
				regulator-max-microvolt = <2000000>;
				regulator-name = "vcc_2v0_pldo_s3";
				regulator-ramp-delay = <12500>;

				regulator-state-mem {
					regulator-on-in-suspend;
					regulator-suspend-microvolt = <2000000>;
				};
			};

			vcc_3v3_s3: dcdc-reg8 {
				regulator-always-on;
				regulator-boot-on;
				regulator-min-microvolt = <3300000>;
				regulator-max-microvolt = <3300000>;
				regulator-name = "vcc_3v3_s3";

				regulator-state-mem {
					regulator-on-in-suspend;
					regulator-suspend-microvolt = <3300000>;
				};
			};

			vddq_ddr_s0: dcdc-reg9 {
				regulator-always-on;
				regulator-boot-on;
				regulator-name = "vddq_ddr_s0";

				regulator-state-mem {
					regulator-off-in-suspend;
				};
			};

			vcc_1v8_s3: dcdc-reg10 {
				regulator-always-on;
				regulator-boot-on;
				regulator-min-microvolt = <1800000>;
				regulator-max-microvolt = <1800000>;
				regulator-name = "vcc_1v8_s3";

				regulator-state-mem {
					regulator-on-in-suspend;
					regulator-suspend-microvolt = <1800000>;
				};
			};

			avcc_1v8_s0: pldo-reg1 {
				regulator-always-on;
				regulator-boot-on;
				regulator-min-microvolt = <1800000>;
				regulator-max-microvolt = <1800000>;
				regulator-name = "avcc_1v8_s0";

				regulator-state-mem {
					regulator-on-in-suspend;
					regulator-suspend-microvolt = <1800000>;
				};
			};

			vcc_1v8_s0: pldo-reg2 {
				regulator-always-on;
				regulator-boot-on;
				regulator-min-microvolt = <1800000>;
				regulator-max-microvolt = <1800000>;
				regulator-name = "vcc_1v8_s0";

				regulator-state-mem {
					regulator-on-in-suspend;
					regulator-suspend-microvolt = <1800000>;
				};
			};

			avdd_1v2_s0: pldo-reg3 {
				regulator-always-on;
				regulator-boot-on;
				regulator-min-microvolt = <1200000>;
				regulator-max-microvolt = <1200000>;
				regulator-name = "avdd_1v2_s0";

				regulator-state-mem {
					regulator-off-in-suspend;
				};
			};

			/*
			 * PLDO4 is the analog 3.3 V rail (vcca_3v3_s0 on the
			 * schematic); the board's digital vcc_3v3_s0 is a
			 * separate load switch off vcc_3v3_s3.
			 */
			avcc_3v3_s0: pldo-reg4 {
				regulator-always-on;
				regulator-boot-on;
				regulator-min-microvolt = <3300000>;
				regulator-max-microvolt = <3300000>;
				regulator-name = "avcc_3v3_s0";
				regulator-ramp-delay = <12500>;

				regulator-state-mem {
					regulator-on-in-suspend;
					regulator-suspend-microvolt = <3300000>;
				};
			};

			vccio_sd_s0: pldo-reg5 {
				regulator-always-on;
				regulator-boot-on;
				regulator-min-microvolt = <1800000>;
				regulator-max-microvolt = <3300000>;
				regulator-name = "vccio_sd_s0";
				regulator-ramp-delay = <12500>;

				regulator-state-mem {
					regulator-off-in-suspend;
				};
			};

			pldo6_s3: pldo-reg6 {
				regulator-always-on;
				regulator-boot-on;
				regulator-min-microvolt = <1800000>;
				regulator-max-microvolt = <1800000>;
				regulator-name = "pldo6_s3";

				regulator-state-mem {
					regulator-on-in-suspend;
					regulator-suspend-microvolt = <1800000>;
				};
			};

			vdd_0v75_s3: nldo-reg1 {
				regulator-always-on;
				regulator-boot-on;
				regulator-min-microvolt = <750000>;
				regulator-max-microvolt = <750000>;
				regulator-name = "vdd_0v75_s3";

				regulator-state-mem {
					regulator-on-in-suspend;
					regulator-suspend-microvolt = <750000>;
				};
			};

			vdd_ddr_pll_s0: nldo-reg2 {
				regulator-always-on;
				regulator-boot-on;
				regulator-min-microvolt = <850000>;
				regulator-max-microvolt = <850000>;
				regulator-name = "vdd_ddr_pll_s0";

				regulator-state-mem {
					regulator-on-in-suspend;
					regulator-suspend-microvolt = <850000>;
				};
			};

			/* Supplies the HDMI/eDP transmitters (837.5 mV). */
			avdd_0v75_s0: nldo-reg3 {
				regulator-always-on;
				regulator-boot-on;
				regulator-min-microvolt = <837500>;
				regulator-max-microvolt = <837500>;
				regulator-name = "avdd_0v75_s0";

				regulator-state-mem {
					regulator-on-in-suspend;
					regulator-suspend-microvolt = <837500>;
				};
			};

			vdd_0v85_s0: nldo-reg4 {
				regulator-always-on;
				regulator-boot-on;
				regulator-min-microvolt = <850000>;
				regulator-max-microvolt = <850000>;
				regulator-name = "vdd_0v85_s0";

				regulator-state-mem {
					regulator-off-in-suspend;
				};
			};

			vdd_0v75_s0: nldo-reg5 {
				regulator-always-on;
				regulator-boot-on;
				regulator-min-microvolt = <750000>;
				regulator-max-microvolt = <750000>;
				regulator-name = "vdd_0v75_s0";

				regulator-state-mem {
					regulator-off-in-suspend;
				};
			};
		};
	};
};

&tsadc {
	status = "okay";
};

&u2phy0 {
	status = "okay";
};

&u2phy0_otg {
	status = "okay";
};

&u2phy1 {
	status = "okay";
};

/* USB 2.0 half of the link to the on-board USB 3.x hub. */
&u2phy1_otg {
	status = "okay";
};

&u2phy3 {
	status = "okay";
};

&u2phy3_host {
	status = "okay";
};

&uart2 {
	pinctrl-names = "default";
	pinctrl-0 = <&uart2m0_xfer>;
	status = "okay";
};

/* Exposed on the 40-pin header: pin 33 (TX) and pin 35 (RX). */
&uart4 {
	pinctrl-names = "default";
	pinctrl-0 = <&uart4m0_xfer>;
	status = "okay";
};

/* The USB Type-C port. */
&usb_host0_xhci {
	usb-role-switch;
	status = "okay";

	ports {
		#address-cells = <1>;
		#size-cells = <0>;

		port@0 {
			reg = <0>;
			usb_host0_xhci_hs: endpoint {
				remote-endpoint = <&usbc0_hs>;
			};
		};

		port@1 {
			reg = <1>;
			usb_host0_xhci_ss: endpoint {
				remote-endpoint = <&usbdp_phy0_ss_in>;
			};
		};
	};
};

/* USB 2.0 host port, routed to the mini PCIe slot. */
&usb_host1_ehci {
	status = "okay";
};

&usb_host1_ohci {
	status = "okay";
};

/*
 * Upstream port of the on-board VL822 hub, which fans out to the four
 * USB 3.0 Type-A connectors.
 */
&usb_host1_xhci {
	dr_mode = "host";
	status = "okay";
};

/* SuperSpeed and DisplayPort halves of the USB Type-C port. */
&usbdp_phy0 {
	mode-switch;
	orientation-switch;
	pinctrl-names = "default";
	pinctrl-0 = <&usbc0_sbu1>, <&usbc0_sbu2>;
	sbu1-dc-gpios = <&gpio4 RK_PA6 GPIO_ACTIVE_HIGH>;
	sbu2-dc-gpios = <&gpio4 RK_PA7 GPIO_ACTIVE_HIGH>;
	status = "okay";

	port {
		#address-cells = <1>;
		#size-cells = <0>;

		usbdp_phy0_ss_out: endpoint@0 {
			reg = <0>;
			remote-endpoint = <&usbc0_ss>;
		};

		usbdp_phy0_ss_in: endpoint@1 {
			reg = <1>;
			remote-endpoint = <&usb_host0_xhci_ss>;
		};

		usbdp_phy0_dp_in: endpoint@2 {
			reg = <2>;
			remote-endpoint = <&dp0_out_con>;
		};

		usbdp_phy0_dp_out: endpoint@3 {
			reg = <3>;
			remote-endpoint = <&usbc0_sbu>;
		};
	};
};

/* SuperSpeed half of the link to the on-board USB 3.x hub. */
&usbdp_phy1 {
	status = "okay";
};

&vop {
	status = "okay";
};

&vop_mmu {
	status = "okay";
};

&vp0 {
	vp0_out_hdmi0: endpoint@ROCKCHIP_VOP2_EP_HDMI0 {
		reg = <ROCKCHIP_VOP2_EP_HDMI0>;
		remote-endpoint = <&hdmi0_in_vp0>;
	};
};

&vp1 {
	vp1_out_hdmi1: endpoint@ROCKCHIP_VOP2_EP_HDMI1 {
		reg = <ROCKCHIP_VOP2_EP_HDMI1>;
		remote-endpoint = <&hdmi1_in_vp1>;
	};
};

&vp2 {
	vp2_out_dp0: endpoint@a {
		reg = <ROCKCHIP_VOP2_EP_DP0>;
		remote-endpoint = <&dp0_in_vp2>;
	};
};
